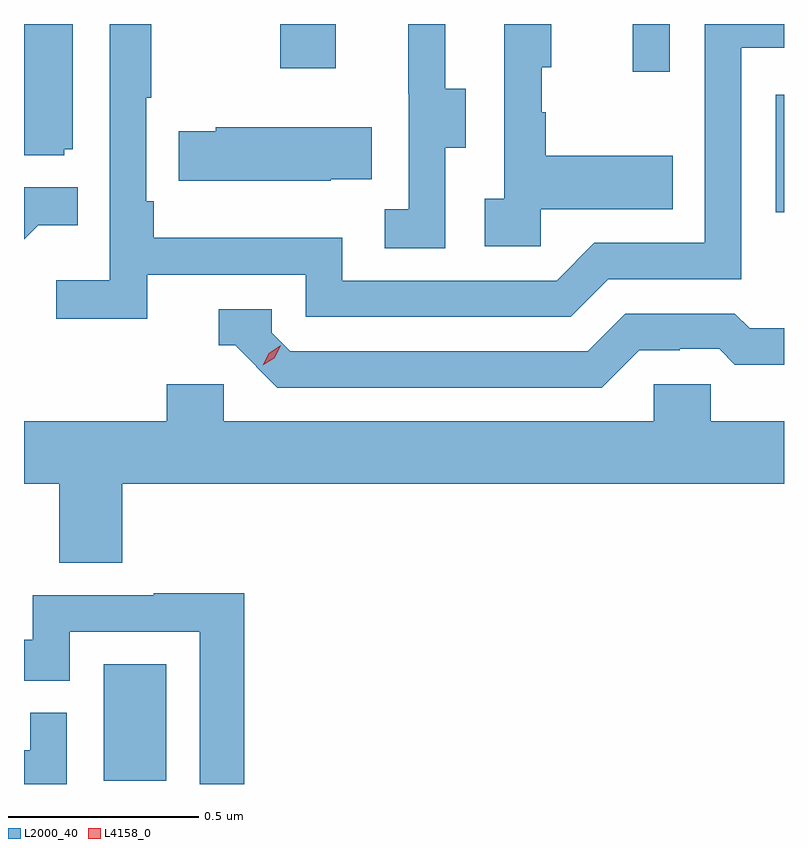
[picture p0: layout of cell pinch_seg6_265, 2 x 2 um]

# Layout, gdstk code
import gdstk
lib = gdstk.Library(unit=1e-6, precision=1e-09)
def R(c, l, rs):  # rectangles x0, y0, x1, y1
    for r in rs: c.add(gdstk.rectangle(r[:2], r[2:], *l))
def P(c, l, *ps):  # polygons
    for p in ps: c.add(gdstk.Polygon(p, *l))
L2000_40 = (2000, 40)
L4158_0 = (4158, 0)

pinch_seg6_265 = lib.new_cell('pinch_seg6_265')
R(pinch_seg6_265, L2000_40, [(1102.868,918.582,1103.032,918.889), (1104.636,920.079,1104.658,920.388), (1104.26,920.448,1104.357,920.574), (1103.332,920.457,1103.479,920.574)])
P(pinch_seg6_265, L2000_40, [(1102.982,919.914),(1103.4,919.914),(1103.4,919.803),(1104.097,919.803),(1104.196,919.902),(1104.546,919.902),(1104.546,920.511),(1104.658,920.511),(1104.658,920.574),(1104.45,920.574),(1104.45,919.998),(1104.159,919.998),(1104.06,919.899),(1103.496,919.899),(1103.496,920.011),(1103,920.011),(1103,920.107),(1102.98,920.107),(1102.98,920.38),(1102.993,920.38),(1102.993,920.574),(1102.884,920.574),(1102.884,919.9),(1102.743,919.9),(1102.743,919.798),(1102.982,919.798)],
  [(1103.766,920.248),(1103.821,920.248),(1103.821,920.403),(1103.767,920.403),(1103.767,920.574),(1103.669,920.574),(1103.669,920.391),(1103.67,920.391),(1103.67,920.087),(1103.607,920.087),(1103.607,919.984),(1103.766,919.984)],
  [(1104.018,920.087),(1104.365,920.087),(1104.365,920.227),(1104.031,920.227),(1104.031,920.342),(1104.021,920.342),(1104.021,920.46),(1104.046,920.46),(1104.046,920.574),(1103.922,920.574),(1103.922,920.114),(1103.871,920.114),(1103.871,919.989),(1104.018,919.989)],
  [(1102.764,920.244),(1102.786,920.244),(1102.786,920.574),(1102.658,920.574),(1102.658,920.229),(1102.764,920.229)],
  [(1103.465,920.165),(1103.573,920.165),(1103.573,920.302),(1103.163,920.302),(1103.163,920.292),(1103.065,920.292),(1103.065,920.162),(1103.465,920.162)],
  [(1102.695,920.045),(1102.799,920.045),(1102.799,920.144),(1102.658,920.144),(1102.658,920.008)],
  [(1104.277,919.716),(1104.384,919.716),(1104.384,919.719),(1104.487,919.719),(1104.529,919.677),(1104.658,919.677),(1104.658,919.773),(1104.568,919.773),(1104.529,919.812),(1104.24,919.812),(1104.141,919.713),(1103.358,919.713),(1103.31,919.761),(1103.31,919.824),(1103.171,919.824),(1103.171,919.728),(1103.214,919.728),(1103.325,919.617),(1104.178,919.617)],
  [(1102.916,919.364),(1104.658,919.364),(1104.658,919.528),(1104.465,919.528),(1104.465,919.626),(1104.315,919.626),(1104.315,919.528),(1103.184,919.528),(1103.184,919.626),(1103.033,919.626),(1103.033,919.528),(1102.658,919.528),(1102.658,919.364),(1102.751,919.364),(1102.751,919.156),(1102.916,919.156)],
  [(1103.237,919.076),(1102.999,919.076),(1102.999,919.071),(1102.681,919.071),(1102.681,918.954),(1102.658,918.954),(1102.658,918.846),(1102.779,918.846),(1102.779,918.975),(1103.121,918.975),(1103.121,918.574),(1103.237,918.574)],
  [(1102.77,918.761),(1102.675,918.761),(1102.675,918.663),(1102.658,918.663),(1102.658,918.574),(1102.77,918.574)])
P(pinch_seg6_265, L4158_0, [(1103.286,919.676),(1103.286,919.676),(1103.302,919.708),(1103.333,919.728),(1103.334,919.728),(1103.334,919.727),(1103.317,919.695),(1103.286,919.676)])

lib.write_gds('pinch_seg6_265.gds')
